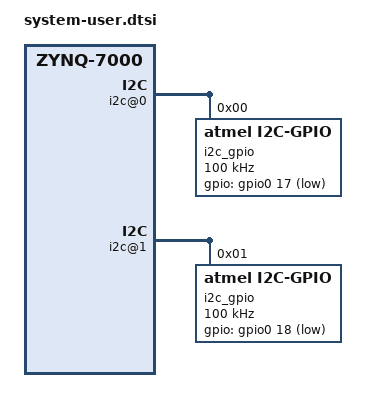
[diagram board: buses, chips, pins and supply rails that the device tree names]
/dts-v2/;
/plugin/;

/ {
    compatible = "xlnx,zynq-7000";

    i2c@0 {
        compatible = "i2c-gpio";
        status = "okay";
        #address-cells = <1>;
        #size-cells = <0>;

        i2c_gpio: gpio@0 {
            compatible = "atmel,i2c-gpio";
            gpios = <&gpio0 17 1>;
            i2c-gpio,sda-open-drain;
            i2c-gpio,scl-open-drain;
            i2c-gpio,delay-us = <2>; // Adjust this according to your hardware requirements
            clock-frequency = <100000>; // Adjust this according to your hardware requirements
            reg = <0>;
        };
    };

    i2c@1 {
        compatible = "i2c-gpio";
        status = "okay";
        #address-cells = <1>;
        #size-cells = <0>;

        i2c_gpio: gpio@1 {
            compatible = "atmel,i2c-gpio";
            gpios = <&gpio0 18 1>;
            i2c-gpio,sda-open-drain;
            i2c-gpio,scl-open-drain;
            i2c-gpio,delay-us = <2>; // Adjust this according to your hardware requirements
            clock-frequency = <100000>; // Adjust this according to your hardware requirements
            reg = <1>;
        };
    };
};                                                                     




